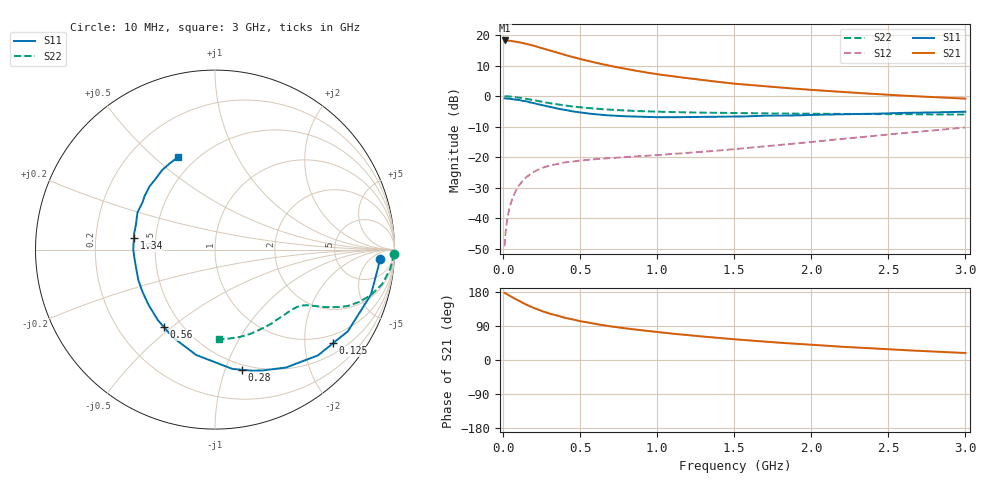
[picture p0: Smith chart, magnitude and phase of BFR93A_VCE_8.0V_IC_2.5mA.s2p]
! Infineon Technologies  Discrete & RF Semiconductors
! BFR93A
! VCE =  8.0 V,  IC =  2.5 mA
! Common Emitter S-Parameters:  Nov 2015
# GHz  S  MA  R  50
!  f  S11  S21  S12  S22
! GHz  MAG  ANG  MAG  ANG  MAG  ANG  MAG  ANG
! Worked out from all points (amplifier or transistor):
!   180 points, 10 MHz to 3 GHz, reference 50 ohm
!   highest |S21| = 18.2 dB at 10 MHz (marker M1)
!   |S21| within 3 dB of that: start of sweep to 284.9 MHz
!   unconditionally stable (mu >= 1): 946 MHz to 2.466 GHz
!   at 160 MHz: K = 0.22, MSG = 21.6 dB, |S12| = -26.2 dB
!   at 1.22 GHz: K = 1.11, MAG = 10.1 dB, |S12| = -18.5 dB
!   at 3 GHz: K = 0.90, MSG = 4.7 dB, |S12| = -10.3 dB
!   S11 on the Smith chart (normalised r, x): 10 MHz: 17, -11; 125 MHz: 0.76, -2.67; 280 MHz: 0.45, -1.15; 560 MHz: 0.40, -0.47; 1.34 GHz: 0.37, +0.06; 3 GHz: 0.40, +0.60
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0.01  0.9199 -3.2  8.145 177.3  0.0035 88.1  0.9952 -1.3
0.02  0.914 -6.4  8.142 174.9  0.0072 85.5  0.9931 -2.4
0.045  0.9042 -14.5  8.032 168.8  0.0159 81.5  0.9843 -5.6
0.1  0.8688 -31.6  7.672 156.7  0.0337 73.2  0.951 -11.7
0.125  0.8391 -38.5  7.393 151.6  0.0402 68.6  0.9269 -13.9
0.15  0.8224 -45.8  7.177 146.2  0.0469 65.3  0.9043 -16.3
0.2  0.7673 -58.9  6.661 137.3  0.0578 60.1  0.8566 -19.8
0.24  0.724 -68.4  6.221 130.9  0.0645 55.9  0.8194 -22.1
0.28  0.6867 -77.2  5.814 125.4  0.07 52.8  0.7853 -23.8
0.3  0.6718 -81.7  5.622 122.7  0.0726 51.5  0.7688 -24.6
0.4  0.5962 -100.2  4.731 111.4  0.0821 46.9  0.702 -27.2
0.52  0.5328 -118.1  3.939 101.1  0.0891 43.8  0.648 -29.1
0.56  0.5169 -123.4  3.725 98.2  0.091 43.4  0.6349 -29.6
0.6  0.5058 -129.0  3.522 95.0  0.0929 43.1  0.6219 -30.1
0.7  0.4818 -140.1  3.103 88.6  0.097 43.0  0.5978 -31.2
0.8  0.4676 -149.8  2.775 83.2  0.1007 43.7  0.5804 -32.4
1.02  0.4512 -168.0  2.248 72.9  0.1093 46.4  0.5548 -35.5
1.34  0.4565 171.7  1.775 60.4  0.1251 51.5  0.5345 -41.3
1.52  0.4618 162.7  1.584 54.1  0.1366 54.2  0.5262 -45.2
2.02  0.4937 142.3  1.256 39.7  0.1794 59.6  0.5132 -57.3
2.52  0.5241 126.2  1.045 28.0  0.2381 60.4  0.5066 -71.5
3  0.5552 111.9  0.91 18.5  0.3064 57.6  0.5004 -87.5
